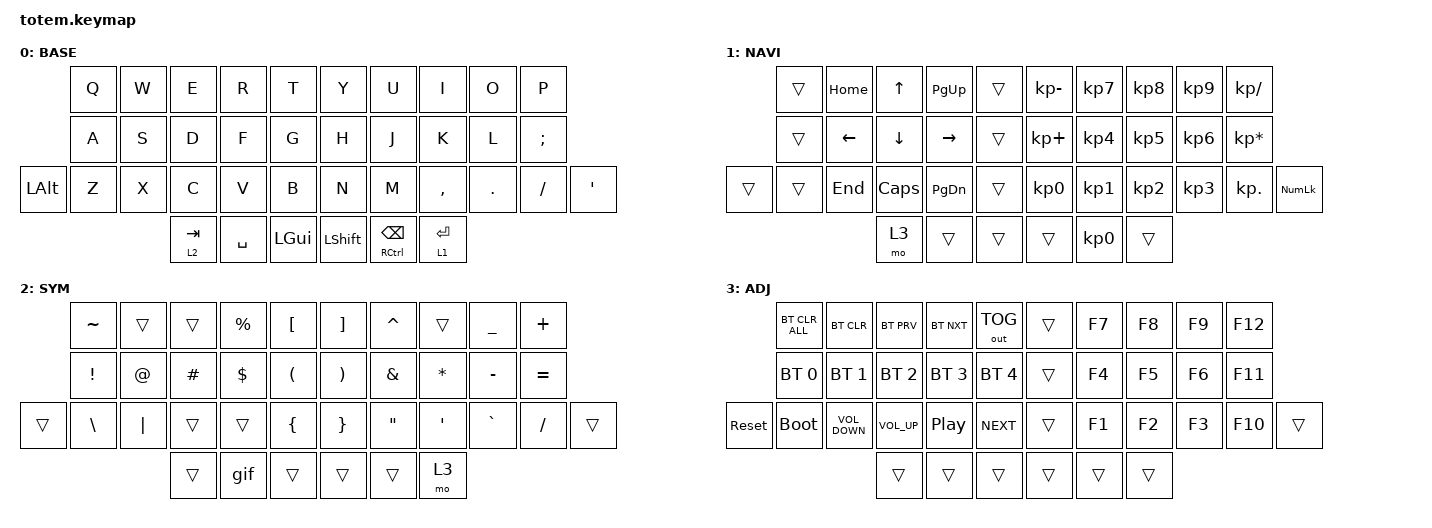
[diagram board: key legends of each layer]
//
//                                                        ▀▀▀▀▀     ▀▀▀▀▀          ▀▀█▀▀
//                                                        ▄▀▀▀▄  ▄  ▄▀▀▀▄  ▄  ▄▀▀▀▄  █  ▄▀▀▀▄
//                                                        █   █  █  █   █  █  █   █  █  █   █
//                                                         ▀▀▀   █   ▀▀▀   █   ▀▀▀   ▀   ▀▀▀
//                                                               █      ▄▄▄█▄▄▄    █   █  
//                                                               ▀      █  █  █     █▄█
//                                                             ▀▀▀▀▀    █  █  █      ▀
//                                                                      ▀  ▀  ▀
//
// ▄▄▄▄▄▄▄▄▄▄▄▄▄▄▄▄▄▄▄▄▄▄▄▄▄▄▄▄▄▄▄▄▄▄▄▄▄▄▄▄▄▄▄▄▄▄▄▄▄▄▄▄▄▄▄▄▄▄▄▄▄▄▄▄▄▄▄▄▄▄▄▄▄▄▄▄▄▄▄▄▄▄▄▄▄▄▄▄▄▄▄▄▄▄▄▄▄▄▄▄▄▄▄▄▄▄▄▄▄▄▄▄▄▄▄▄▄▄▄▄▄▄▄▄▄▄▄▄▄▄▄▄▄▄▄▄▄▄▄▄▄▄▄▄▄▄▄▄▄

#include <behaviors.dtsi>
#include <dt-bindings/zmk/bt.h>
#include <dt-bindings/zmk/keys.h>
#include <dt-bindings/zmk/outputs.h>

#define BASE 0
#define NAV  1
#define SYM  2
#define ADJ  3
#define TVP1 4
#define TVP2 5

&mt {
    quick-tap-ms = <100>;
    global-quick-tap;
    flavor = "tap-unless-interrupted";
    tapping-term-ms = <170>;
};

/ {
    combos {
        compatible = "zmk,combos";

        combo_esc {
            timeout-ms = <50>;
            key-positions = <0 1>;
            bindings = <&kp ESC>;
        };

        combo_tvp {
            timeout-ms = <100>;
            key-positions = <11 12 13>;
            bindings = <&tog 0>;
        };
    };

    macros {
        gif: gif {
            label = "giphy";
            compatible = "zmk,behavior-macro";
            #binding-cells = <0>;
            bindings =
                <&macro_press>,
                <&kp LSHFT>,
                <&macro_tap>,
                <&kp N2>,
                <&macro_release>,
                <&kp LSHFT>,
                <&macro_tap>,
                <&kp G &kp I &kp F>;
        };
    };

    keymap {
        compatible = "zmk,keymap";

        // ▄▄▄▄▄▄▄▄▄▄▄▄▄▄▄▄▄▄▄▄▄▄▄▄▄▄▄▄▄▄▄▄▄▄▄▄▄▄▄▄▄▄▄▄▄▄▄▄▄▄▄▄▄▄▄▄▄▄▄▄▄▄▄▄▄▄▄▄▄▄▄▄▄▄▄▄▄▄▄▄▄▄▄▄▄▄▄▄▄▄▄▄▄▄▄▄▄▄▄▄▄▄▄▄▄▄▄▄▄▄▄▄▄▄▄▄▄▄▄▄▄▄▄▄▄▄▄▄▄▄▄▄▄▄▄▄▄▄▄▄▄▄▄▄▄▄▄▄▄

        base_layer {
            // ┏━━━━━━━━━━━━━━━━━━━━━━━━━━━━━━━━━━━━━━━┓

            label = "BASE";

            // ┗━━━━━━━━━━━━━━━━━━━━━━━━━━━━━━━━━━━━━━━┛
            //             ┏━━━━━━━━━━━┳━━━━━━━━━━━┳━━━━━━━━━━━┳━━━━━━━━━━━┳━━━━━━━━━━━┓   ┏━━━━━━━━━━━┳━━━━━━━━━━━┳━━━━━━━━━━━┳━━━━━━━━━━━┳━━━━━━━━━━━┓
            //             ┃     Q     ┃     W     ┃     F     ┃     P     ┃     G     ┃   ┃     J     ┃     L     ┃     U     ┃     Y     ┃     ;     ┃
            //             ┣━━━━━━━━━━━╋━━━━━━━━━━━╋━━━━━━━━━━━╋━━━━━━━━━━━╋━━━━━━━━━━━┫   ┣━━━━━━━━━━━╋━━━━━━━━━━━╋━━━━━━━━━━━╋━━━━━━━━━━━╋━━━━━━━━━━━┫
            //             ┃     A     ┃     R     ┃     S     ┃     T     ┃     D     ┃   ┃     H     ┃     N     ┃     E     ┃     I     ┃     O     ┃
            // ┏━━━━━━━━━━━╋━━━━━━━━━━━╋━━━━━━━━━━━╋━━━━━━━━━━━╋━━━━━━━━━━━╋━━━━━━━━━━━┫   ┣━━━━━━━━━━━╋━━━━━━━━━━━╋━━━━━━━━━━━╋━━━━━━━━━━━╋━━━━━━━━━━━╋━━━━━━━━━━━┓
            // ┃     Q     ┃     Z     ┃     X     ┃     C     ┃     V     ┃     B     ┃   ┃     K     ┃     M     ┃     ,     ┃     .     ┃     /     ┃     \     ┃
            // ┗━━━━━━━━━━━┻━━━━━━━━━━━┻━━━━━━━━━━━╋━━━━━━━━━━━╋━━━━━━━━━━━╋━━━━━━━━━━━┫   ┣━━━━━━━━━━━╋━━━━━━━━━━━╋━━━━━━━━━━━╋━━━━━━━━━━━┻━━━━━━━━━━━┻━━━━━━━━━━━┛
            //                                     ┃    DEL    ┃    TAB    ┃    SPC    ┃   ┃   ENTER   ┃           ┃   BSPC    ┃
            //                                     ┗━━━━━━━━━━━┻━━━━━━━━━━━┻━━━━━━━━━━━┛   ┗━━━━━━━━━━━┻━━━━━━━━━━━┻━━━━━━━━━━━┛

            bindings = <
              &kp Q  &kp W  &kp E      &kp R      &kp T           &kp Y           &kp U                        &kp I        &kp O       &kp P
              &kp A  &kp S  &kp D      &kp F      &kp G           &kp H           &kp J                        &kp K        &kp L       &kp SEMICOLON
&kp LEFT_ALT  &kp Z  &kp X  &kp C      &kp V      &kp B           &kp N           &kp M                        &kp COMMA    &kp PERIOD  &kp SLASH      &kp APOS
                            &lt 2 TAB  &kp SPACE  &kp LEFT_GUI    &kp LEFT_SHIFT  &mt RIGHT_CONTROL BACKSPACE  &lt 1 ENTER
            >;
        };

        // ▄▄▄▄▄▄▄▄▄▄▄▄▄▄▄▄▄▄▄▄▄▄▄▄▄▄▄▄▄▄▄▄▄▄▄▄▄▄▄▄▄▄▄▄▄▄▄▄▄▄▄▄▄▄▄▄▄▄▄▄▄▄▄▄▄▄▄▄▄▄▄▄▄▄▄▄▄▄▄▄▄▄▄▄▄▄▄▄▄▄▄▄▄▄▄▄▄▄▄▄▄▄▄▄▄▄▄▄▄▄▄▄▄▄▄▄▄▄▄▄▄▄▄▄▄▄▄▄▄▄▄▄▄▄▄▄▄▄▄▄▄▄▄▄▄▄▄▄▄

        nav_layer {
            // ┏━━━━━━━━━━━━━━━━━━━━━━━━━━━━━━━━━━━━━━━┓

            label = "NAVI";

            // ┗━━━━━━━━━━━━━━━━━━━━━━━━━━━━━━━━━━━━━━━┛
            //             ┏━━━━━━━━━━━┳━━━━━━━━━━━┳━━━━━━━━━━━┳━━━━━━━━━━━┳━━━━━━━━━━━┓   ┏━━━━━━━━━━━┳━━━━━━━━━━━┳━━━━━━━━━━━┳━━━━━━━━━━━┳━━━━━━━━━━━┓
            //             ┃           ┃           ┃     UP    ┃           ┃     {     ┃   ┃     }     ┃     7     ┃     8     ┃     9     ┃     +     ┃
            //             ┣━━━━━━━━━━━╋━━━━━━━━━━━╋━━━━━━━━━━━╋━━━━━━━━━━━╋━━━━━━━━━━━┫   ┣━━━━━━━━━━━╋━━━━━━━━━━━╋━━━━━━━━━━━╋━━━━━━━━━━━╋━━━━━━━━━━━┫
            //             ┃   SHIFT   ┃   LEFT    ┃    DOWN   ┃   RIGHT   ┃     [     ┃   ┃     ]     ┃     4     ┃     5     ┃     6     ┃     -     ┃
            // ┏━━━━━━━━━━━╋━━━━━━━━━━━╋━━━━━━━━━━━╋━━━━━━━━━━━╋━━━━━━━━━━━╋━━━━━━━━━━━┫   ┣━━━━━━━━━━━╋━━━━━━━━━━━╋━━━━━━━━━━━╋━━━━━━━━━━━╋━━━━━━━━━━━╋━━━━━━━━━━━┓
            // ┃           ┃           ┃   P UP    ┃  C LOCK   ┃  P DOWN   ┃     (     ┃   ┃     )     ┃     1     ┃     2     ┃     3     ┃     *     ┃           ┃
            // ┗━━━━━━━━━━━┻━━━━━━━━━━━┻━━━━━━━━━━━╋━━━━━━━━━━━╋━━━━━━━━━━━╋━━━━━━━━━━━┫   ┣━━━━━━━━━━━╋━━━━━━━━━━━╋━━━━━━━━━━━╋━━━━━━━━━━━┻━━━━━━━━━━━┻━━━━━━━━━━━┛
            //                                     ┃           ┃    TAB    ┃    SPC    ┃   ┃    DEL    ┃     0     ┃           ┃
            //                                     ┗━━━━━━━━━━━┻━━━━━━━━━━━┻━━━━━━━━━━━┛   ┗━━━━━━━━━━━┻━━━━━━━━━━━┻━━━━━━━━━━━┛

            bindings = <
        &trans  &kp HOME  &kp UP    &kp PAGE_UP  &trans    &kp KP_SUBTRACT  &kp KP_N7        &kp KP_N8  &kp KP_N9  &kp KP_DIVIDE
        &trans  &kp LEFT  &kp DOWN  &kp RIGHT    &trans    &kp KP_PLUS      &kp KP_N4        &kp KP_N5  &kp KP_N6  &kp KP_ASTERISK
&trans  &trans  &kp END   &kp CAPS  &kp PG_DN    &trans    &kp KP_NUMBER_0  &kp KP_N1        &kp KP_N2  &kp KP_N3  &kp KP_DOT       &kp KP_NUMLOCK
                          &mo 3     &trans       &trans    &trans           &kp KP_NUMBER_0  &trans
            >;
        };

        // ▄▄▄▄▄▄▄▄▄▄▄▄▄▄▄▄▄▄▄▄▄▄▄▄▄▄▄▄▄▄▄▄▄▄▄▄▄▄▄▄▄▄▄▄▄▄▄▄▄▄▄▄▄▄▄▄▄▄▄▄▄▄▄▄▄▄▄▄▄▄▄▄▄▄▄▄▄▄▄▄▄▄▄▄▄▄▄▄▄▄▄▄▄▄▄▄▄▄▄▄▄▄▄▄▄▄▄▄▄▄▄▄▄▄▄▄▄▄▄▄▄▄▄▄▄▄▄▄▄▄▄▄▄▄▄▄▄▄▄▄▄▄▄▄▄▄▄▄▄

        sim_layer {
            // ┏━━━━━━━━━━━━━━━━━━━━━━━━━━━━━━━━━━━━━━━┓

            label = "SYM";

            // ┗━━━━━━━━━━━━━━━━━━━━━━━━━━━━━━━━━━━━━━━┛
            //             ┏━━━━━━━━━━━┳━━━━━━━━━━━┳━━━━━━━━━━━┳━━━━━━━━━━━┳━━━━━━━━━━━┓   ┏━━━━━━━━━━━┳━━━━━━━━━━━┳━━━━━━━━━━━┳━━━━━━━━━━━┳━━━━━━━━━━━┓
            //             ┃     !     ┃     @     ┃     #     ┃     $     ┃     %     ┃   ┃     ˆ     ┃     &     ┃     Ü     ┃     '     ┃     "     ┃
            //             ┣━━━━━━━━━━━╋━━━━━━━━━━━╋━━━━━━━━━━━╋━━━━━━━━━━━╋━━━━━━━━━━━┫   ┣━━━━━━━━━━━╋━━━━━━━━━━━╋━━━━━━━━━━━╋━━━━━━━━━━━╋━━━━━━━━━━━┫
            //             ┃     Ä     ┃           ┃    SZ     ┃           ┃           ┃   ┃   MUTE    ┃   YEN     ┃   EURO    ┃  POUND    ┃     Ö     ┃
            // ┏━━━━━━━━━━━╋━━━━━━━━━━━╋━━━━━━━━━━━╋━━━━━━━━━━━╋━━━━━━━━━━━╋━━━━━━━━━━━┫   ┣━━━━━━━━━━━╋━━━━━━━━━━━╋━━━━━━━━━━━╋━━━━━━━━━━━╋━━━━━━━━━━━╋━━━━━━━━━━━┓
            // ┃           ┃  EMAIL1   ┃  EMAIL2   ┃           ┃           ┃           ┃   ┃   VOL-    ┃   VOL+    ┃   LAST    ┃   NEXT    ┃     \     ┃           ┃
            // ┗━━━━━━━━━━━┻━━━━━━━━━━━┻━━━━━━━━━━━╋━━━━━━━━━━━╋━━━━━━━━━━━╋━━━━━━━━━━━┫   ┣━━━━━━━━━━━╋━━━━━━━━━━━╋━━━━━━━━━━━╋━━━━━━━━━━━┻━━━━━━━━━━━┻━━━━━━━━━━━┛
            //                                     ┃           ┃    GIF    ┃    ADJ    ┃   ┃           ┃           ┃           ┃
            //                                     ┗━━━━━━━━━━━┻━━━━━━━━━━━┻━━━━━━━━━━━┛   ┗━━━━━━━━━━━┻━━━━━━━━━━━┻━━━━━━━━━━━┛

            bindings = <
        &kp TILDE  &trans    &trans    &kp PERCENT  &kp LEFT_BRACKET        &kp RIGHT_BRACKET      &kp CARET          &trans            &kp UNDER  &kp PLUS
        &kp EXCL   &kp AT    &kp HASH  &kp DOLLAR   &kp LEFT_PARENTHESIS    &kp RIGHT_PARENTHESIS  &kp AMPERSAND      &kp STAR          &kp MINUS  &kp EQUAL
&trans  &kp BSLH   &kp PIPE  &trans    &trans       &kp LEFT_BRACE          &kp RIGHT_BRACE        &kp DOUBLE_QUOTES  &kp SINGLE_QUOTE  &kp GRAVE  &kp SLASH  &trans
                             &trans    &gif         &trans                  &trans                 &trans             &mo 3
            >;
        };

        // ▄▄▄▄▄▄▄▄▄▄▄▄▄▄▄▄▄▄▄▄▄▄▄▄▄▄▄▄▄▄▄▄▄▄▄▄▄▄▄▄▄▄▄▄▄▄▄▄▄▄▄▄▄▄▄▄▄▄▄▄▄▄▄▄▄▄▄▄▄▄▄▄▄▄▄▄▄▄▄▄▄▄▄▄▄▄▄▄▄▄▄▄▄▄▄▄▄▄▄▄▄▄▄▄▄▄▄▄▄▄▄▄▄▄▄▄▄▄▄▄▄▄▄▄▄▄▄▄▄▄▄▄▄▄▄▄▄▄▄▄▄▄▄▄▄▄▄▄▄

        adjust_layer {
            // ┏━━━━━━━━━━━━━━━━━━━━━━━━━━━━━━━━━━━━━━━┓

            label = "ADJ";

            // ┗━━━━━━━━━━━━━━━━━━━━━━━━━━━━━━━━━━━━━━━┛
            //             ┏━━━━━━━━━━━┳━━━━━━━━━━━┳━━━━━━━━━━━┳━━━━━━━━━━━┳━━━━━━━━━━━┓   ┏━━━━━━━━━━━┳━━━━━━━━━━━┳━━━━━━━━━━━┳━━━━━━━━━━━┳━━━━━━━━━━━┓
            //             ┃   RESET   ┃ BT CLEAR  ┃  OUT TOG  ┃           ┃           ┃   ┃           ┃    F7     ┃    F8     ┃    F9     ┃    F12    ┃
            //             ┣━━━━━━━━━━━╋━━━━━━━━━━━╋━━━━━━━━━━━╋━━━━━━━━━━━╋━━━━━━━━━━━┫   ┣━━━━━━━━━━━╋━━━━━━━━━━━╋━━━━━━━━━━━╋━━━━━━━━━━━╋━━━━━━━━━━━┫
            //             ┃ BOOTLOAD  ┃ BT NEXT   ┃           ┃           ┃           ┃   ┃           ┃    F4     ┃    F5     ┃    F6     ┃    F11    ┃
            // ┏━━━━━━━━━━━╋━━━━━━━━━━━╋━━━━━━━━━━━╋━━━━━━━━━━━╋━━━━━━━━━━━╋━━━━━━━━━━━┫   ┣━━━━━━━━━━━╋━━━━━━━━━━━╋━━━━━━━━━━━╋━━━━━━━━━━━╋━━━━━━━━━━━╋━━━━━━━━━━━┓
            // ┃           ┃           ┃ BT PREV   ┃           ┃           ┃           ┃   ┃           ┃    F1     ┃    F2     ┃    F3     ┃    F10    ┃           ┃
            // ┗━━━━━━━━━━━┻━━━━━━━━━━━┻━━━━━━━━━━━╋━━━━━━━━━━━╋━━━━━━━━━━━╋━━━━━━━━━━━┫   ┣━━━━━━━━━━━╋━━━━━━━━━━━╋━━━━━━━━━━━╋━━━━━━━━━━━┻━━━━━━━━━━━┻━━━━━━━━━━━┛
            //                                     ┃           ┃           ┃           ┃   ┃           ┃           ┃           ┃
            //                                     ┗━━━━━━━━━━━┻━━━━━━━━━━━┻━━━━━━━━━━━┛   ┗━━━━━━━━━━━┻━━━━━━━━━━━┻━━━━━━━━━━━┛

            bindings = <
            &bt BT_CLR_ALL  &bt BT_CLR         &bt BT_PRV       &bt BT_NXT        &out OUT_TOG    &trans  &kp F7  &kp F8  &kp F9  &kp F12
            &bt BT_SEL 0    &bt BT_SEL 1       &bt BT_SEL 2     &bt BT_SEL 3      &bt BT_SEL 4    &trans  &kp F4  &kp F5  &kp F6  &kp F11
&sys_reset  &bootloader     &kp C_VOLUME_DOWN  &kp C_VOLUME_UP  &kp C_PLAY_PAUSE  &kp C_NEXT      &trans  &kp F1  &kp F2  &kp F3  &kp F10  &trans
                                               &trans           &trans            &trans          &trans  &trans  &trans
            >;
        };

        // ▄▄▄▄▄▄▄▄▄▄▄▄▄▄▄▄▄▄▄▄▄▄▄▄▄▄▄▄▄▄▄▄▄▄▄▄▄▄▄▄▄▄▄▄▄▄▄▄▄▄▄▄▄▄▄▄▄▄▄▄▄▄▄▄▄▄▄▄▄▄▄▄▄▄▄▄▄▄▄▄▄▄▄▄▄▄▄▄▄▄▄▄▄▄▄▄▄▄▄▄▄▄▄▄▄▄▄▄▄▄▄▄▄▄▄▄▄▄▄▄▄▄▄▄▄▄▄▄▄▄▄▄▄▄▄▄▄▄▄▄▄▄▄▄▄▄▄▄▄
        // ▄▄▄▄▄▄▄▄▄▄▄▄▄▄▄▄▄▄▄▄▄▄▄▄▄▄▄▄▄▄▄▄▄▄▄▄▄▄▄▄▄▄▄▄▄▄▄▄▄▄▄▄▄▄▄▄▄▄▄▄▄▄▄▄▄▄▄▄▄▄▄▄▄▄▄▄▄▄▄▄▄▄▄▄▄▄▄▄▄▄▄▄▄▄▄▄▄▄▄▄▄▄▄▄▄▄▄▄▄▄▄▄▄▄▄▄▄▄▄▄▄▄▄▄▄▄▄▄▄▄▄▄▄▄▄▄▄▄▄▄▄▄▄▄▄▄▄▄▄
    };
};
